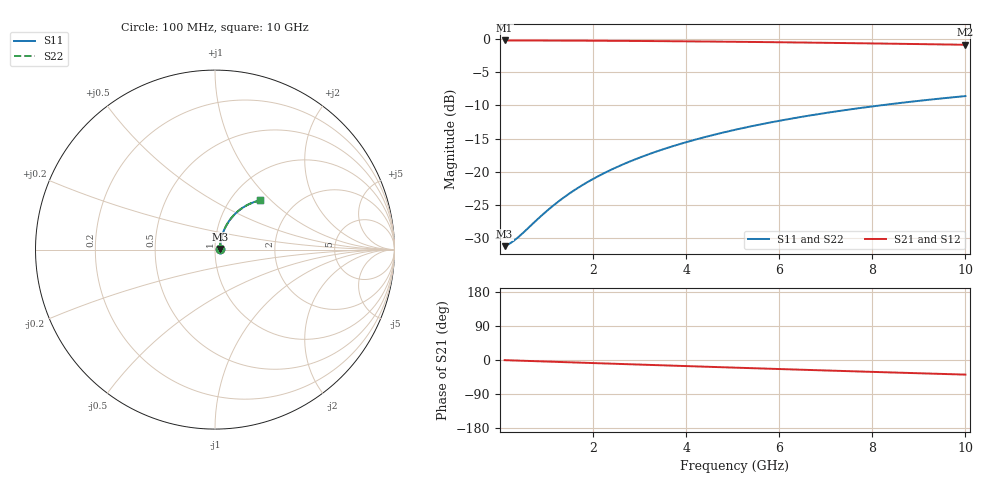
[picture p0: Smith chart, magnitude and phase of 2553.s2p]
# Hz S RI R 50.00
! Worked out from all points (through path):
!   100 points, 100 MHz to 10 GHz, reference 50 ohm
!   highest |S21| = -0.24 dB at 100 MHz (marker M1); lowest = -0.9 dB at 10 GHz (marker M2)
!   group delay of S21, straight-line fit = 10.7 ps
!   lowest |S11| = -31.2 dB at 100 MHz (marker M3), VSWR 1.06, Z = 52.8 + j0.424 ohm
!   |S11| at or under -10 dB: start of sweep to 8.188 GHz
!   |S22| runs from -31.2 to -8.6 dB; largest |S21 - S12| = 0
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1e8  0.0273 0.00402  0.9727 -0.00688  0.9727 -0.00688  0.0273 0.00402
2e8  0.0275 0.00803  0.9725 -0.0138  0.9725 -0.0138  0.0275 0.00803
3e8  0.0278 0.012  0.9722 -0.0206  0.9722 -0.0206  0.0278 0.012
4e8  0.0281 0.016  0.9718 -0.0275  0.9718 -0.0275  0.0281 0.016
9e8  0.0303 0.036  0.9694 -0.0617  0.9694 -0.0617  0.0303 0.036
1.2e9  0.0322 0.0478  0.9671 -0.0822  0.9671 -0.0822  0.0322 0.0478
1.5e9  0.0346 0.0595  0.9644 -0.1025  0.9644 -0.1025  0.0346 0.0595
1.8e9  0.0375 0.0712  0.9611 -0.1227  0.9611 -0.1227  0.0375 0.0712
2.1e9  0.0409 0.0826  0.9572 -0.1427  0.9572 -0.1427  0.0409 0.0826
2.5e9  0.0461 0.0976  0.9513 -0.1692  0.9513 -0.1692  0.0461 0.0976
2.9e9  0.0521 0.1122  0.9443 -0.1953  0.9443 -0.1953  0.0521 0.1122
3.4e9  0.0607 0.13  0.9344 -0.2274  0.9344 -0.2274  0.0607 0.13
3.8e9  0.0684 0.1436  0.9255 -0.2525  0.9255 -0.2525  0.0684 0.1436
4.2e9  0.0768 0.1567  0.9157 -0.2771  0.9157 -0.2771  0.0768 0.1567
4.6e9  0.0859 0.1693  0.9052 -0.3012  0.9052 -0.3012  0.0859 0.1693
5.1e9  0.0981 0.1842  0.8909 -0.3305  0.8909 -0.3305  0.0981 0.1842
5.9e9  0.1194 0.206  0.8658 -0.3754  0.8658 -0.3754  0.1194 0.206
6.7e9  0.1426 0.2251  0.8383 -0.4177  0.8383 -0.4177  0.1426 0.2251
7.5e9  0.1674 0.2414  0.8086 -0.4572  0.8086 -0.4572  0.1674 0.2414
8.4e9  0.1966 0.2563  0.7732 -0.4982  0.7732 -0.4982  0.1966 0.2563
9.2e9  0.2233 0.2664  0.7402 -0.5317  0.7402 -0.5317  0.2233 0.2664
1e10  0.2505 0.2737  0.7062 -0.5624  0.7062 -0.5624  0.2505 0.2737
